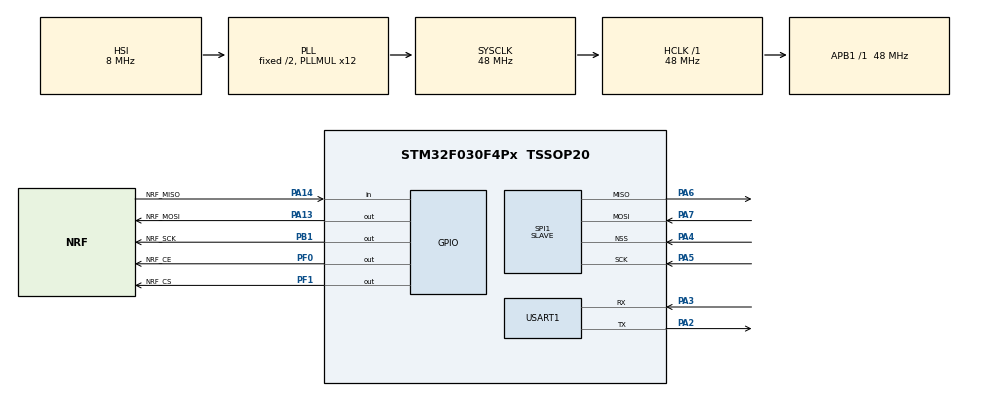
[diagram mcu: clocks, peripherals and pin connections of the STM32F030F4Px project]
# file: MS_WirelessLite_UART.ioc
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Mcu.Family=STM32F0
Mcu.Name=STM32F030F4Px
Mcu.Package=TSSOP20
NVIC.SPI1_IRQn=true\:0\:0\:false\:false\:true\:true\:true
NVIC.USART1_IRQn=true\:0\:0\:false\:false\:true\:true\:true
PA13.GPIO_Label=NRF_MOSI
PA13.Signal=GPIO_Output
PA14.GPIO_Label=NRF_MISO
PA14.Signal=GPIO_Input
PA2.Mode=Asynchronous
PA2.Signal=USART1_TX
PA3.Mode=Asynchronous
PA3.Signal=USART1_RX
PA4.Mode=NSS_Signal_Hard_Input
PA4.Signal=SPI1_NSS
PA5.Mode=Full_Duplex_Slave
PA5.Signal=SPI1_SCK
PA6.Mode=Full_Duplex_Slave
PA6.Signal=SPI1_MISO
PA7.Mode=Full_Duplex_Slave
PA7.Signal=SPI1_MOSI
PB1.GPIO_Label=NRF_SCK
PB1.Signal=GPIO_Output
PF0-OSC_IN.GPIO_Label=NRF_CE
PF0-OSC_IN.Signal=GPIO_Output
PF1-OSC_OUT.GPIO_Label=NRF_CS
PF1-OSC_OUT.PinState=GPIO_PIN_SET
PF1-OSC_OUT.Signal=GPIO_Output
ProjectManager.HeapSize=0x200
ProjectManager.StackSize=0x400
ProjectManager.TargetToolchain=STM32CubeIDE
RCC.AHBFreq_Value=48000000
RCC.APB1Freq_Value=48000000
RCC.APB1TimFreq_Value=48000000
RCC.HCLKFreq_Value=48000000
RCC.PLLMUL=RCC_PLL_MUL12
RCC.SYSCLKFreq_VALUE=48000000
RCC.SYSCLKSource=RCC_SYSCLKSOURCE_PLLCLK
SPI1.DataSize=SPI_DATASIZE_8BIT
SPI1.Direction=SPI_DIRECTION_2LINES
SPI1.Mode=SPI_MODE_SLAVE
SPI1.TIMode=SPI_TIMODE_DISABLE
SPI1.VirtualNSS=VM_NSSHARD
SPI1.VirtualType=VM_SLAVE
TIM17.Prescaler=48-1
USART1.VirtualMode-Asynchronous=VM_ASYNC
VP_TIM17_VS_ClockSourceINT.Mode=Enable_Timer
board=custom

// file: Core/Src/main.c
/* USER CODE BEGIN Header */
/**
  ******************************************************************************
  * @file           : main.c
  * @brief          : Main program body
  ******************************************************************************
  * @attention
  *
  * <h2><center>&copy; Copyright (c) 2021 STMicroelectronics.
  * All rights reserved.</center></h2>
  *
  * This software component is licensed by ST under BSD 3-Clause license,
  * the "License"; You may not use this file except in compliance with the
  * License. You may obtain a copy of the License at:
  *                        opensource.org/licenses/BSD-3-Clause
  *
  ******************************************************************************
  */
/* USER CODE END Header */
#include "main.h"

/* USER CODE BEGIN Includes */
#include "NRF24L01.h"
/* USER CODE END Includes */

SPI_HandleTypeDef hspi1;

TIM_HandleTypeDef htim17;

UART_HandleTypeDef huart1;

/* USER CODE BEGIN PV */
 uint8_t TxAddress[5] = {0xE7,0xE7,0xE7,0xE7,0xE7};
uint8_t command = 0;
volatile uint8_t DownLink_cmd = 0;
 uint8_t DownLink[32];

/* USER CODE END PV */

void SystemClock_Config(void);
static void MX_GPIO_Init(void);
static void MX_SPI1_Init(void);
static void MX_TIM17_Init(void);
static void MX_USART1_UART_Init(void);

/* USER CODE BEGIN 0 */
void HAL_SPI_RxCpltCallback(SPI_HandleTypeDef *hspi)
{
	if(command == 0xAA)
	{

		HAL_SPI_Receive(hspi, DownLink, 32, 100);
		DownLink_cmd = 1;
	}
	HAL_SPI_Receive_IT(&hspi1, &command, 1);
}

void LED_Blink()
{
	for(uint8_t cnt = 0; cnt < 10; cnt++)
	{
		HAL_GPIO_TogglePin(NRF_CE_GPIO_Port, NRF_CE_Pin);
		HAL_Delay(100);
	}
}

/* USER CODE END 0 */

int main(void)
{

  /* MCU Configuration--------------------------------------------------------*/

  /* Reset of all peripherals, Initializes the Flash interface and the Systick. */
  HAL_Init();

  /* Configure the system clock */
  SystemClock_Config();

  /* Initialize all configured peripherals */
  MX_GPIO_Init();
  MX_SPI1_Init();
  MX_TIM17_Init();
  MX_USART1_UART_Init();
  /* USER CODE BEGIN 2 */

  LED_Blink(); //Hello world

  NRF24_Init();
  NRF24_TxMode(TxAddress, 4);

  //HAL_UART_Receive_IT(&huart1, GPS_data, 32); 	//start GPS
  HAL_SPI_Receive_IT(&hspi1, &command, 1);

  /* USER CODE END 2 */

  /* Infinite loop */
  /* USER CODE BEGIN WHILE */
  while (1)
  {
	  if(DownLink_cmd == 1)
	  {
		  NRF24_Transmit(DownLink);
		  //HAL_UART_Transmit(&huart1, DownLink, 32, 100);
		  //HAL_GPIO_TogglePin(NRF_CE_GPIO_Port, NRF_CE_Pin);
		  DownLink_cmd = 0;
	  }

    /* USER CODE END WHILE */

  }
}

void SystemClock_Config(void)
{
  RCC_OscInitTypeDef RCC_OscInitStruct = {0};
  RCC_ClkInitTypeDef RCC_ClkInitStruct = {0};
  RCC_PeriphCLKInitTypeDef PeriphClkInit = {0};

  /** Initializes the RCC Oscillators according to the specified parameters
  * in the RCC_OscInitTypeDef structure.
  */
  RCC_OscInitStruct.OscillatorType = RCC_OSCILLATORTYPE_HSI;
  RCC_OscInitStruct.HSIState = RCC_HSI_ON;
  RCC_OscInitStruct.HSICalibrationValue = RCC_HSICALIBRATION_DEFAULT;
  RCC_OscInitStruct.PLL.PLLState = RCC_PLL_ON;
  RCC_OscInitStruct.PLL.PLLSource = RCC_PLLSOURCE_HSI;
  RCC_OscInitStruct.PLL.PLLMUL = RCC_PLL_MUL12;
  RCC_OscInitStruct.PLL.PREDIV = RCC_PREDIV_DIV1;
  if (HAL_RCC_OscConfig(&RCC_OscInitStruct) != HAL_OK)
  {
    Error_Handler();
  }
  /** Initializes the CPU, AHB and APB buses clocks
  */
  RCC_ClkInitStruct.ClockType = RCC_CLOCKTYPE_HCLK|RCC_CLOCKTYPE_SYSCLK
                              |RCC_CLOCKTYPE_PCLK1;
  RCC_ClkInitStruct.SYSCLKSource = RCC_SYSCLKSOURCE_PLLCLK;
  RCC_ClkInitStruct.AHBCLKDivider = RCC_SYSCLK_DIV1;
  RCC_ClkInitStruct.APB1CLKDivider = RCC_HCLK_DIV1;

  if (HAL_RCC_ClockConfig(&RCC_ClkInitStruct, FLASH_LATENCY_1) != HAL_OK)
  {
    Error_Handler();
  }
  PeriphClkInit.PeriphClockSelection = RCC_PERIPHCLK_USART1;
  PeriphClkInit.Usart1ClockSelection = RCC_USART1CLKSOURCE_PCLK1;
  if (HAL_RCCEx_PeriphCLKConfig(&PeriphClkInit) != HAL_OK)
  {
    Error_Handler();
  }
}

static void MX_SPI1_Init(void)
{

  /* SPI1 parameter configuration*/
  hspi1.Instance = SPI1;
  hspi1.Init.Mode = SPI_MODE_SLAVE;
  hspi1.Init.Direction = SPI_DIRECTION_2LINES;
  hspi1.Init.DataSize = SPI_DATASIZE_8BIT;
  hspi1.Init.CLKPolarity = SPI_POLARITY_LOW;
  hspi1.Init.CLKPhase = SPI_PHASE_1EDGE;
  hspi1.Init.NSS = SPI_NSS_HARD_INPUT;
  hspi1.Init.FirstBit = SPI_FIRSTBIT_MSB;
  hspi1.Init.TIMode = SPI_TIMODE_DISABLE;
  hspi1.Init.CRCCalculation = SPI_CRCCALCULATION_DISABLE;
  hspi1.Init.CRCPolynomial = 7;
  hspi1.Init.CRCLength = SPI_CRC_LENGTH_DATASIZE;
  hspi1.Init.NSSPMode = SPI_NSS_PULSE_DISABLE;
  if (HAL_SPI_Init(&hspi1) != HAL_OK)
  {
    Error_Handler();
  }

}

static void MX_TIM17_Init(void)
{

  htim17.Instance = TIM17;
  htim17.Init.Prescaler = 48-1;
  htim17.Init.CounterMode = TIM_COUNTERMODE_UP;
  htim17.Init.Period = 65535;
  htim17.Init.ClockDivision = TIM_CLOCKDIVISION_DIV1;
  htim17.Init.RepetitionCounter = 0;
  htim17.Init.AutoReloadPreload = TIM_AUTORELOAD_PRELOAD_DISABLE;
  if (HAL_TIM_Base_Init(&htim17) != HAL_OK)
  {
    Error_Handler();
  }

}

static void MX_USART1_UART_Init(void)
{

  huart1.Instance = USART1;
  huart1.Init.BaudRate = 38400;
  huart1.Init.WordLength = UART_WORDLENGTH_8B;
  huart1.Init.StopBits = UART_STOPBITS_1;
  huart1.Init.Parity = UART_PARITY_NONE;
  huart1.Init.Mode = UART_MODE_TX_RX;
  huart1.Init.HwFlowCtl = UART_HWCONTROL_NONE;
  huart1.Init.OverSampling = UART_OVERSAMPLING_16;
  huart1.Init.OneBitSampling = UART_ONE_BIT_SAMPLE_DISABLE;
  huart1.AdvancedInit.AdvFeatureInit = UART_ADVFEATURE_NO_INIT;
  if (HAL_UART_Init(&huart1) != HAL_OK)
  {
    Error_Handler();
  }

}

static void MX_GPIO_Init(void)
{
  GPIO_InitTypeDef GPIO_InitStruct = {0};

  /* GPIO Ports Clock Enable */
  __HAL_RCC_GPIOF_CLK_ENABLE();
  __HAL_RCC_GPIOA_CLK_ENABLE();
  __HAL_RCC_GPIOB_CLK_ENABLE();

  /*Configure GPIO pin Output Level */
  HAL_GPIO_WritePin(NRF_CE_GPIO_Port, NRF_CE_Pin, GPIO_PIN_RESET);

  /*Configure GPIO pin Output Level */
  HAL_GPIO_WritePin(NRF_CS_GPIO_Port, NRF_CS_Pin, GPIO_PIN_SET);

  /*Configure GPIO pin Output Level */
  HAL_GPIO_WritePin(NRF_SCK_GPIO_Port, NRF_SCK_Pin, GPIO_PIN_RESET);

  /*Configure GPIO pin Output Level */
  HAL_GPIO_WritePin(NRF_MOSI_GPIO_Port, NRF_MOSI_Pin, GPIO_PIN_RESET);

  /*Configure GPIO pins : NRF_CE_Pin NRF_CS_Pin */
  GPIO_InitStruct.Pin = NRF_CE_Pin|NRF_CS_Pin;
  GPIO_InitStruct.Mode = GPIO_MODE_OUTPUT_PP;
  GPIO_InitStruct.Pull = GPIO_NOPULL;
  GPIO_InitStruct.Speed = GPIO_SPEED_FREQ_LOW;
  HAL_GPIO_Init(GPIOF, &GPIO_InitStruct);

  /*Configure GPIO pin : NRF_SCK_Pin */
  GPIO_InitStruct.Pin = NRF_SCK_Pin;
  GPIO_InitStruct.Mode = GPIO_MODE_OUTPUT_PP;
  GPIO_InitStruct.Pull = GPIO_NOPULL;
  GPIO_InitStruct.Speed = GPIO_SPEED_FREQ_LOW;
  HAL_GPIO_Init(NRF_SCK_GPIO_Port, &GPIO_InitStruct);

  /*Configure GPIO pin : NRF_MOSI_Pin */
  GPIO_InitStruct.Pin = NRF_MOSI_Pin;
  GPIO_InitStruct.Mode = GPIO_MODE_OUTPUT_PP;
  GPIO_InitStruct.Pull = GPIO_NOPULL;
  GPIO_InitStruct.Speed = GPIO_SPEED_FREQ_LOW;
  HAL_GPIO_Init(NRF_MOSI_GPIO_Port, &GPIO_InitStruct);

  /*Configure GPIO pin : NRF_MISO_Pin */
  GPIO_InitStruct.Pin = NRF_MISO_Pin;
  GPIO_InitStruct.Mode = GPIO_MODE_INPUT;
  GPIO_InitStruct.Pull = GPIO_NOPULL;
  HAL_GPIO_Init(NRF_MISO_GPIO_Port, &GPIO_InitStruct);

}

/* USER CODE BEGIN 4 */
/*void HAL_GPIO_EXTI_Callback(uint16_t GPIO_Pin)
{

	if(1)//GPIO_Pin == SPI_CS_Pin
	{
		uint8_t command = 0;

		//uint8_t DownLink[32];

		HAL_SPI_Receive(&hspi1, &command, 1, 100);
		//HAL_SPI_Receive(&hspi1, DownLink, 32, 100);
		HAL_UART_Transmit(&huart1, &command, 1, 100);
		//HAL_UART_Transmit(&huart1, DownLink, 32, 100);
		if(command == 0x01)
		{

		}
	}
}*/
/*void  HAL_UART_RxCpltCallback(UART_HandleTypeDef *huart)
{
	NRF24_Transmit(GPS_data);
	HAL_UART_Receive_IT(&huart1, GPS_data, 32);
#warning change positions
}*/
/* USER CODE END 4 */

void Error_Handler(void)
{
  __disable_irq();
  while (1)
  {
  }
}
